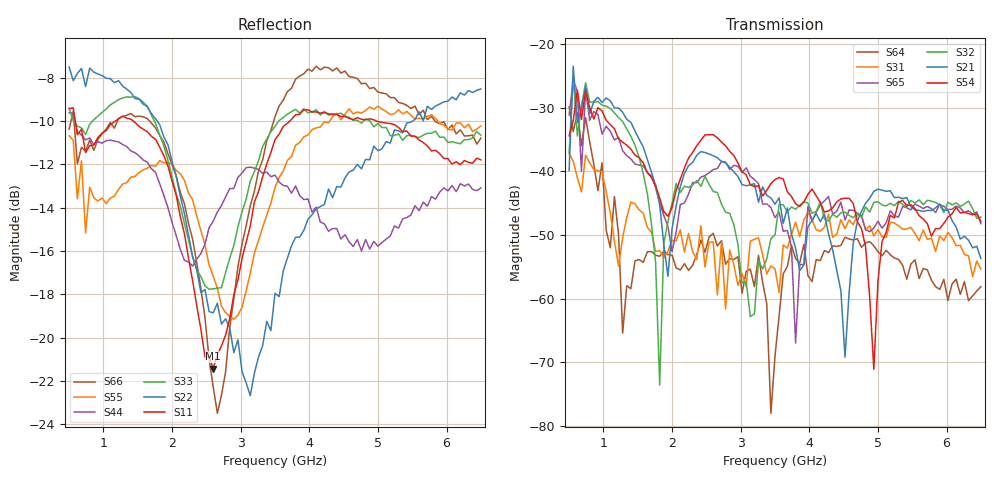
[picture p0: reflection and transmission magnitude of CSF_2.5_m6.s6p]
!Keysight Technologies,M9804A,MY58100912,A.14.10.03
!Date: Thursday, April 27, 2023 10:28:33
!Correction: S11(C  6-Port  )
!S12(C  6-Port  )
!S13(C  6-Port  )
!S14(C  6-Port  )
!S15(C  6-Port  )
!S16(C  6-Port  )
!S21(C  6-Port  )
!S22(C  6-Port  )
!S23(C  6-Port  )
!S24(C  6-Port  )
!S25(C  6-Port  )
!S26(C  6-Port  )
!S31(C  6-Port  )
!S32(C  6-Port  )
!S33(C  6-Port  )
!S34(C  6-Port  )
!S35(C  6-Port  )
!S36(C  6-Port  )
!S41(C  6-Port  )
!S42(C  6-Port  )
!S43(C  6-Port  )
!S44(C  6-Port  )
!S45(C  6-Port  )
!S46(C  6-Port  )
!S51(C  6-Port  )
!S52(C  6-Port  )
!S53(C  6-Port  )
!S54(C  6-Port  )
!S55(C  6-Port  )
!S56(C  6-Port  )
!S61(C  6-Port  )
!S62(C  6-Port  )
!S63(C  6-Port  )
!S64(C  6-Port  )
!S65(C  6-Port  )
!S66(C  6-Port  )
!S6P File: Measurement: :
# Hz S  RI  R 50
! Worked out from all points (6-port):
!   101 points, 500 MHz to 6.5 GHz, reference 50 ohm
!   strongest paths, dB at 500 MHz, 2 GHz, 3.5 GHz, 5 GHz, 6.5 GHz:
!     S54: -34.4, -45.6, -41.3, -57.3, -47.8
!     S21: -39.8, -49.0, -45.2, -42.8, -53.7
!     S32: -37.0, -44.9, -50.0, -44.8, -47.2
!     S65: -31.2, -52.6, -47.2, -47.8, -48.2
!     S31: -37.2, -50.8, -55.3, -49.2, -55.3
!     S64: -29.8, -53.2, -69.1, -52.6, -58.1
!   lowest |S11| = -21.4 dB at 2.6 GHz (marker M1), VSWR 1.19, Z = 42.5 + j2.2 ohm
!   |S11| at or under -10 dB: 589.4 MHz to 1.172 GHz (582.9 MHz wide, 66.2 % of centre); 1.435 GHz to 3.714 GHz (2.279 GHz wide, 88.5 % of centre); 4.981 GHz to end of sweep
